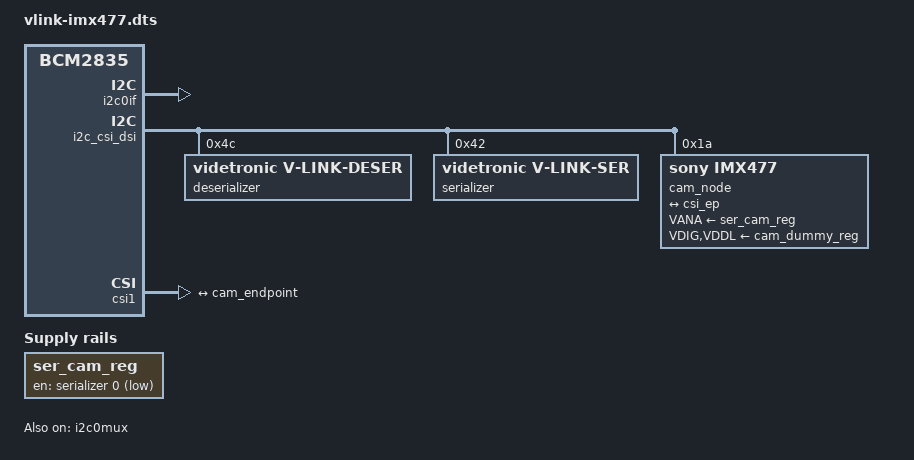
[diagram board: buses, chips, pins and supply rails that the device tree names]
// SPDX-License-Identifier: GPL-2.0-only
// Definitions for IMX477 camera module over v-link
/dts-v1/;
/plugin/;

/{
	compatible = "brcm,bcm2835";
	
	fragment@0 {
		target = <&i2c0if>;
		__overlay__ {
			status = "okay";
		};
	};
	
	clk_frag: fragment@1 {
		target = <&cam1_clk>;
		cam_clk: __overlay__ {
			clock-frequency = <24000000>;
			status = "okay";
		};
	};
	
	fragment@2 {
		target = <&i2c0mux>;
		__overlay__ {
			status = "okay";
		};
	};
	
	reg_frag: fragment@3 {
		target = <&cam1_reg>;
		cam_reg: __overlay__ {
			startup-delay-us = <300000>;
		};
	};
	
	fragment@4 {
		target = <&soc>;
		__overlay__ {
			ser_cam_reg: ser_cam_reg {
				compatible = "regulator-fixed";
				regulator-name = "ser-cam-reg";
				gpio-active-high;
				gpio = <&serializer 0 0>; 
				startup-delay = <100000>; /* 100 ms in microseconds */
			};
		};
	};
	
	reg_alwayson_frag: fragment@99 {
		target = <&cam1_reg>;
		__dormant__ {
			regulator-always-on;
		};
	};
	
	i2c_frag: fragment@100 {
		target = <&i2c_csi_dsi>;
		__overlay__ {
			#address-cells = <1>;
			#size-cells = <0>;
			status = "okay";
			
			deserializer: vlink-deser@4C {
				status = "okay";
				compatible = "videtronic,v-link-deser";
				reg = <0x4C>;
				data-lanes = <1 2>;
				link-frequency = /bits/ 64 <500000000>;
			};
				
			serializer: vlink-ser@42 {
				status = "okay";
				compatible = "videtronic,v-link-ser";
				reg = <0x42>;
				gpio-controller;
				#gpio-cells = <2>;
				data-lanes = <1 2>;
			};

			cam_node: imx477@1a {
				compatible = "sony,imx477";
				reg = <0x1a>;
				status = "okay";
				
				clocks = <&cam1_clk>;
				clock-names = "xclk";
				
				VANA-supply = <&ser_cam_reg>;	/* 2.8v */
				VDIG-supply = <&cam_dummy_reg>;	/* 1.05v */
				VDDL-supply = <&cam_dummy_reg>;	/* 1.8v */
				
				rotation = <180>;
				orientation = <2>;
				
				port {
					cam_endpoint: endpoint {
						clock-lanes = <0>;
						data-lanes = <1 2>;
						clock-noncontinuous;
						link-frequencies =
						/bits/ 64 <450000000>;
					};
				};
			};
		};
	};

	csi_frag: fragment@101 {
		target = <&csi1>;
		csi: __overlay__ {
			status = "okay";
			brcm,media-controller;
			
			port {
				csi_ep: endpoint {
					remote-endpoint = <&cam_endpoint>;
					clock-lanes = <0>;
					data-lanes = <1 2>;
					clock-noncontinuous;
				};
			};
		};
	};
	
	__overrides__ {
		rotation = <&cam_node>,"rotation:0";
		orientation = <&cam_node>,"orientation:0";
		media-controller = <&csi>,"brcm,media-controller?";
		cam0 = <&i2c_frag>, "target:0=",<&i2c_csi_dsi0>,
		<&csi_frag>, "target:0=",<&csi0>,
		<&clk_frag>, "target:0=",<&cam0_clk>,
		<&reg_frag>, "target:0=",<&cam0_reg>,
		<&reg_alwayson_frag>, "target:0=",<&cam0_reg>,
		<&cam_node>, "clocks:0=",<&cam0_clk>,
		<&cam_node>, "VANA-supply:0=",<&cam0_reg>;
		always-on = <0>, "+99";
		link-frequency = <&cam_endpoint>,"link-frequencies#0";
		sync-sink = <&cam_node>,"trigger-mode:0=2";
		sync-source = <&cam_node>,"trigger-mode:0=1";
	};
};

&cam_node {
	status = "okay";
};

&cam_endpoint {
	remote-endpoint = <&csi_ep>;
};
